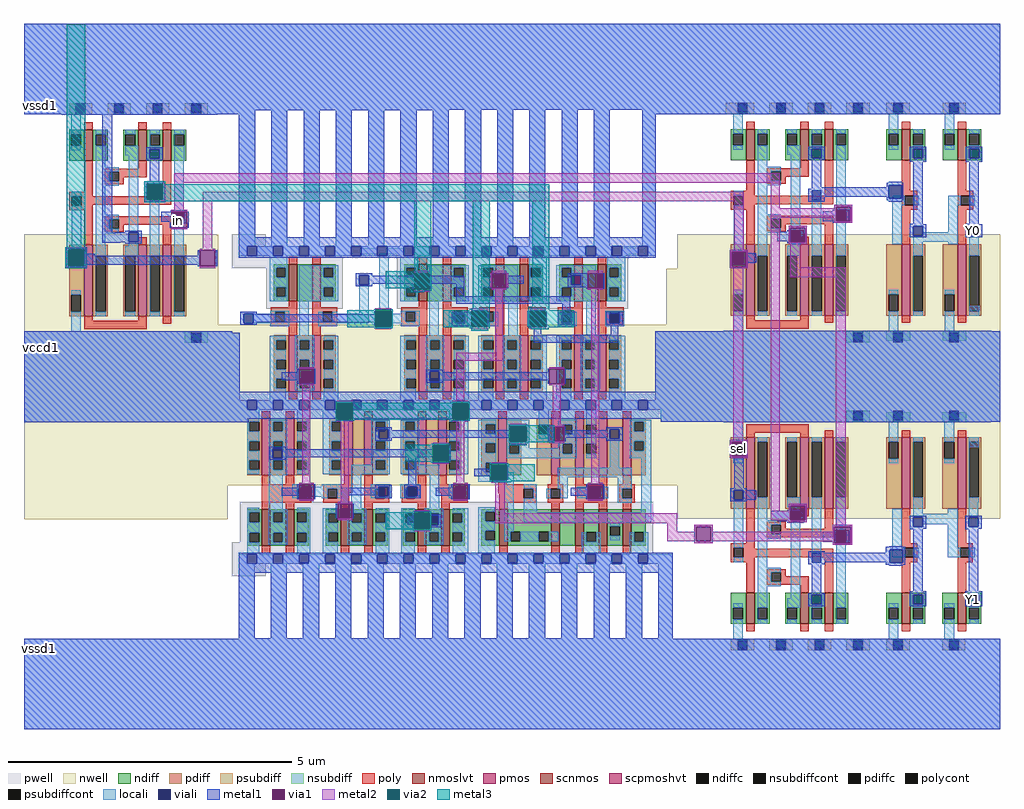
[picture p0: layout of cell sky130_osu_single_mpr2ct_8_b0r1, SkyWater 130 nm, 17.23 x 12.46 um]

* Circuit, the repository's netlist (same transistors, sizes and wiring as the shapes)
* NGSPICE file created from sky130_osu_single_mpr2ct_8_b0r1.ext - technology: sky130A

.subckt sky130_osu_sc_12T_hs__mux2_1 S0 Y A0 A1 vccd1 vssd1 
X0 Y S0 A0 vccd1 sky130_fd_pr__pfet_01v8 ad=0.1764 pd=1.54 as=0.3402 ps=3.06 w=1.26 l=0.15
X1 Y a_110_114# A0 vssd1  sky130_fd_pr__nfet_01v8_lvt ad=0.077 pd=0.83 as=0.1485 ps=1.64 w=0.55 l=0.15
X2 A1 a_110_114# Y vccd1 sky130_fd_pr__pfet_01v8 ad=0.3339 pd=3.05 as=0.1764 ps=1.54 w=1.26 l=0.15
X3 A1 S0 Y vssd1  sky130_fd_pr__nfet_01v8_lvt ad=0.14575 pd=1.63 as=0.077 ps=0.83 w=0.55 l=0.15
X4 a_110_114# S0 vccd1 vccd1 sky130_fd_pr__pfet_01v8 ad=0.3339 pd=3.05 as=0.3402 ps=3.06 w=1.26 l=0.15
X5 a_110_114# S0 vssd1  vssd1  sky130_fd_pr__nfet_01v8_lvt ad=0.14575 pd=1.63 as=0.1485 ps=1.64 w=0.55 l=0.15
.ends

.subckt sky130_osu_sc_12T_hs__inv_1 Y A vccd1 vssd1
X0 Y A vccd1 vccd1 sky130_fd_pr__pfet_01v8 ad=0.3339 pd=3.05 as=0.3402 ps=3.06 w=1.26 l=0.15
X1 Y A vssd1 vssd1 sky130_fd_pr__nfet_01v8_lvt ad=0.14575 pd=1.63 as=0.1485 ps=1.64 w=0.55 l=0.15
.ends

.subckt scs130hd_mpr2ct_8 A1 A0 B0 B1 R0 R1 R2 R3 VNB vgnd VPB vpwr
X0 vpwr B1 a_1131_911# VPB sky130_fd_pr__pfet_01v8_hvt ad=0.26 pd=2.52 as=0.135 ps=1.27 w=1 l=0.15
X1 vgnd a_1131_911# a_1133_47# VNB sky130_fd_pr__nfet_01v8 ad=0.08775 pd=0.92 as=0.08775 ps=0.92 w=0.65 l=0.15
X2 vpwr A1 a_665_591# VPB sky130_fd_pr__pfet_01v8_hvt ad=0.26 pd=2.52 as=0.135 ps=1.27 w=1 l=0.15
X3 vgnd a_665_591# a_915_232# VNB sky130_fd_pr__nfet_01v8 ad=0.169 pd=1.82 as=0.08775 ps=0.92 w=0.65 l=0.15
X4 a_1131_911# A0 vpwr VPB sky130_fd_pr__pfet_01v8_hvt ad=0.135 pd=1.27 as=0.26 ps=2.52 w=1 l=0.15
X5 R3 a_443_21# a_401_297# VPB sky130_fd_pr__pfet_01v8_hvt ad=0.26 pd=2.52 as=0.105 ps=1.21 w=1 l=0.15
X6 a_945_297# a_665_591# vpwr VPB sky130_fd_pr__pfet_01v8_hvt ad=0.135 pd=1.27 as=0.26 ps=2.52 w=1 l=0.15
X7 a_665_591# B0 vpwr VPB sky130_fd_pr__pfet_01v8_hvt ad=0.135 pd=1.27 as=0.26 ps=2.52 w=1 l=0.15
X8 vpwr a_443_21# a_661_297# VPB sky130_fd_pr__pfet_01v8_hvt ad=0.26 pd=2.52 as=0.105 ps=1.21 w=1 l=0.15
X9 R0 a_81_21# vpwr VPB sky130_fd_pr__pfet_01v8_hvt ad=0.135 pd=1.27 as=0.26 ps=2.52 w=1 l=0.15
X10 a_401_297# a_81_21# vpwr VPB sky130_fd_pr__pfet_01v8_hvt ad=0.105 pd=1.21 as=0.26 ps=2.52 w=1 l=0.15
X11 R1 a_915_232# vgnd VNB sky130_fd_pr__nfet_01v8 ad=0.25025 pd=1.42 as=0.208 ps=1.94 w=0.65 l=0.15
X12 vgnd B1 a_937_911# VNB sky130_fd_pr__nfet_01v8 ad=0.169 pd=1.82 as=0.08775 ps=0.92 w=0.65 l=0.15
X13 vgnd B1 a_1213_911# VNB sky130_fd_pr__nfet_01v8 ad=0.169 pd=1.82 as=0.08775 ps=0.92 w=0.65 l=0.15
X14 a_443_21# A1 vpwr VPB sky130_fd_pr__pfet_01v8_hvt ad=0.135 pd=1.27 as=0.26 ps=2.52 w=1 l=0.15
X15 vgnd a_443_21# R3 VNB sky130_fd_pr__nfet_01v8 ad=0.169 pd=1.82 as=0.08775 ps=0.92 w=0.65 l=0.15
X16 a_661_297# R0 R2 VPB sky130_fd_pr__pfet_01v8_hvt ad=0.105 pd=1.21 as=0.26 ps=2.52 w=1 l=0.15
X17 vgnd a_81_21# R0 VNB sky130_fd_pr__nfet_01v8 ad=0.169 pd=1.82 as=0.08775 ps=0.92 w=0.65 l=0.15
X18 a_665_591# A1 a_665_911# VNB sky130_fd_pr__nfet_01v8 ad=0.169 pd=1.82 as=0.08775 ps=0.92 w=0.65 l=0.15
X19 R0 a_81_21# vgnd VNB sky130_fd_pr__nfet_01v8 ad=0.08775 pd=0.92 as=0.169 ps=1.82 w=0.65 l=0.15
X20 a_1213_911# A0 a_1131_911# VNB sky130_fd_pr__nfet_01v8 ad=0.08775 pd=0.92 as=0.169 ps=1.82 w=0.65 l=0.15
X21 a_665_911# B0 vgnd VNB sky130_fd_pr__nfet_01v8 ad=0.08775 pd=0.92 as=0.169 ps=1.82 w=0.65 l=0.15
X22 vpwr A0 a_81_21# VPB sky130_fd_pr__pfet_01v8_hvt ad=0.26 pd=2.52 as=0.135 ps=1.27 w=1 l=0.15
X23 a_915_232# a_665_591# a_1301_297# VPB sky130_fd_pr__pfet_01v8_hvt ad=0.26 pd=2.52 as=0.135 ps=1.27 w=1 l=0.15
X24 R3 a_81_21# vgnd VNB sky130_fd_pr__nfet_01v8 ad=0.08775 pd=0.92 as=0.169 ps=1.82 w=0.65 l=0.15
X25 a_81_21# B0 vpwr VPB sky130_fd_pr__pfet_01v8_hvt ad=0.135 pd=1.27 as=0.26 ps=2.52 w=1 l=0.15
X26 a_1301_297# a_1131_911# vpwr VPB sky130_fd_pr__pfet_01v8_hvt ad=0.135 pd=1.27 as=0.135 ps=1.27 w=1 l=0.15
X27 a_937_911# A1 a_443_21# VNB sky130_fd_pr__nfet_01v8 ad=0.08775 pd=0.92 as=0.169 ps=1.82 w=0.65 l=0.15
X28 a_945_297# a_915_232# R1 VPB sky130_fd_pr__pfet_01v8_hvt ad=0.26 pd=2.52 as=0.3 ps=2.6 w=1 l=0.15
X29 R2 R0 vgnd VNB sky130_fd_pr__nfet_01v8 ad=0.08775 pd=0.92 as=0.169 ps=1.82 w=0.65 l=0.15
X30 a_1133_47# a_665_591# R1 VNB sky130_fd_pr__nfet_01v8 ad=0.08775 pd=0.92 as=0.25025 ps=1.42 w=0.65 l=0.15
X31 vpwr a_1131_911# a_945_297# VPB sky130_fd_pr__pfet_01v8_hvt ad=0.135 pd=1.27 as=0.135 ps=1.27 w=1 l=0.15
X32 a_915_232# a_1131_911# vgnd VNB sky130_fd_pr__nfet_01v8 ad=0.08775 pd=0.92 as=0.08775 ps=0.92 w=0.65 l=0.15
X33 vpwr a_81_21# R0 VPB sky130_fd_pr__pfet_01v8_hvt ad=0.26 pd=2.52 as=0.135 ps=1.27 w=1 l=0.15
X34 a_81_21# A0 a_205_911# VNB sky130_fd_pr__nfet_01v8 ad=0.169 pd=1.82 as=0.08775 ps=0.92 w=0.65 l=0.15
X35 a_205_911# B0 vgnd VNB sky130_fd_pr__nfet_01v8 ad=0.08775 pd=0.92 as=0.169 ps=1.82 w=0.65 l=0.15
X36 vpwr B1 a_443_21# VPB sky130_fd_pr__pfet_01v8_hvt ad=0.26 pd=2.52 as=0.135 ps=1.27 w=1 l=0.15
X37 vgnd a_443_21# R2 VNB sky130_fd_pr__nfet_01v8 ad=0.169 pd=1.82 as=0.08775 ps=0.92 w=0.65 l=0.15
.ends

.subckt sky130_osu_single_mpr2ct_8_b0r1 vssd1 vccd1 sel Y0 Y1 in
Xsky130_osu_sc_12T_hs__mux2_1_0 sel sky130_osu_sc_12T_hs__inv_1_1/A in scs130hd_mpr2ct_8_1/R1
+ vccd1 vssd1 sky130_osu_sc_12T_hs__mux2_1
Xsky130_osu_sc_12T_hs__inv_1_0 Y1 sky130_osu_sc_12T_hs__inv_1_1/Y vccd1 vssd1 sky130_osu_sc_12T_hs__inv_1
Xsky130_osu_sc_12T_hs__mux2_1_1 sel scs130hd_mpr2ct_8_1/B1 vssd1 in vccd1 vssd1 sky130_osu_sc_12T_hs__mux2_1
Xsky130_osu_sc_12T_hs__inv_1_1 sky130_osu_sc_12T_hs__inv_1_1/Y sky130_osu_sc_12T_hs__inv_1_1/A
+ vccd1 vssd1 sky130_osu_sc_12T_hs__inv_1
Xsky130_osu_sc_12T_hs__mux2_1_2 sel sky130_osu_sc_12T_hs__inv_1_4/A scs130hd_mpr2ct_8_1/R1
+ in vccd1 vssd1 sky130_osu_sc_12T_hs__mux2_1
Xsky130_osu_sc_12T_hs__inv_1_3 Y0 sky130_osu_sc_12T_hs__inv_1_4/Y vccd1 vssd1 sky130_osu_sc_12T_hs__inv_1
Xsky130_osu_sc_12T_hs__inv_1_4 sky130_osu_sc_12T_hs__inv_1_4/Y sky130_osu_sc_12T_hs__inv_1_4/A
+ vccd1 vssd1 sky130_osu_sc_12T_hs__inv_1
Xscs130hd_mpr2ct_8_1 scs130hd_mpr2ct_8_1/B1 scs130hd_mpr2ct_8_1/B1 vssd1 scs130hd_mpr2ct_8_1/B1
+ scs130hd_mpr2ct_8_1/R0 scs130hd_mpr2ct_8_1/R1 scs130hd_mpr2ct_8_1/R2 scs130hd_mpr2ct_8_1/R3
+ vssd1 vssd1 vccd1 vccd1 scs130hd_mpr2ct_8
.ends

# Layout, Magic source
magic
tech sky130A
magscale 1 2
<< nwell >>
rect -2159 1147 -1480 1489
rect 148 1386 306 1489
rect 1014 1427 1015 1465
rect 348 1386 380 1422
rect 148 1367 311 1386
rect -1476 1147 -1431 1170
rect 109 1147 311 1367
rect 1242 1147 1287 1489
rect -2159 1146 -1431 1147
rect -2159 1139 -1480 1146
rect -1476 1139 -1431 1146
rect -2159 873 -1397 1139
rect -2159 826 -1365 873
rect 70 869 1287 1147
rect 72 838 1287 869
rect 89 827 1287 838
rect -2159 824 -1423 826
rect -2159 603 -1325 824
rect 89 796 311 827
rect -273 763 311 796
rect 89 603 311 763
rect -2159 483 -1440 603
rect 148 485 311 603
rect 1093 513 1123 548
rect 1242 485 1287 827
<< ndiff >>
rect 1177 182 1212 216
<< psubdiff >>
rect 318 1947 342 1954
rect 318 1917 348 1947
rect 318 1914 349 1917
rect 474 1915 549 1947
rect 473 1914 555 1915
<< locali >>
rect -2158 1928 1287 2233
rect -2158 1927 -659 1928
rect -2158 1913 -1343 1927
rect -1400 1446 -1343 1913
rect -1286 1446 -1229 1927
rect -1172 1446 -1115 1927
rect -1058 1446 -1001 1927
rect -944 1446 -887 1927
rect -830 1446 -773 1927
rect -716 1446 -659 1927
rect -602 1446 -545 1928
rect -488 1446 -432 1928
rect -375 1446 -318 1928
rect -261 1446 -204 1928
rect -147 1446 -90 1928
rect 24 1913 1287 1928
rect 24 1446 72 1913
rect 1012 1462 1119 1497
rect -905 1206 -871 1421
rect 346 1386 382 1434
rect 1014 1427 1015 1462
rect 1179 1202 1213 1236
rect -2158 1141 -1423 1147
rect -2158 873 -1397 1141
rect -2158 826 -1365 873
rect 70 869 1287 1147
rect 89 827 1287 869
rect 1178 738 1212 772
rect 1013 466 1117 502
rect -1401 327 -1392 359
rect 70 331 131 359
rect -1226 329 131 331
rect -1401 62 -1345 327
rect -1288 62 -1231 327
rect -1174 62 -1117 329
rect -1060 62 -1003 329
rect -946 62 -889 329
rect -832 62 -775 329
rect -718 62 -661 329
rect -604 62 -547 329
rect -490 62 -433 329
rect -376 62 -319 329
rect -262 62 -205 329
rect -148 62 -91 329
rect -34 62 23 329
rect 46 325 131 329
rect 80 62 131 325
rect -1401 61 131 62
rect -2158 -259 1287 61
<< viali >>
rect 894 1617 940 1663
rect 1178 1484 1212 1518
rect 897 330 943 376
rect 1178 182 1212 216
<< metal1 >>
rect -2158 1928 1287 2233
rect -2158 1927 -659 1928
rect -2158 1913 -1343 1927
rect -1882 1495 -1848 1913
rect -1734 1668 -1660 1677
rect -1734 1612 -1725 1668
rect -1669 1612 -1660 1668
rect -1734 1603 -1660 1612
rect -1645 1513 -1639 1569
rect -1583 1513 -1577 1569
rect -1882 1494 -1801 1495
rect -1882 1463 -1802 1494
rect -1882 1461 -1800 1463
rect -1882 1460 -1819 1461
rect -1400 1446 -1343 1913
rect -1286 1446 -1229 1927
rect -1172 1446 -1115 1927
rect -1058 1446 -1001 1927
rect -944 1446 -887 1927
rect -830 1446 -773 1927
rect -716 1446 -659 1927
rect -602 1446 -545 1928
rect -488 1446 -432 1928
rect -375 1446 -318 1928
rect -261 1446 -204 1928
rect -147 1446 -90 1928
rect 24 1913 1287 1928
rect 24 1446 72 1913
rect 894 1671 940 1675
rect 888 1663 946 1671
rect 888 1656 894 1663
rect 656 1649 894 1656
rect 668 1643 894 1649
rect 622 1622 894 1643
rect 622 1609 668 1622
rect 888 1617 894 1622
rect 940 1617 946 1663
rect 888 1609 946 1617
rect 894 1604 940 1609
rect 701 1587 766 1594
rect 701 1535 708 1587
rect 760 1535 766 1587
rect 701 1529 766 1535
rect 541 1513 605 1519
rect 541 1461 547 1513
rect 599 1461 605 1513
rect 541 1454 605 1461
rect -2009 1434 -1941 1440
rect -2009 1378 -2003 1434
rect -1947 1421 -1941 1434
rect -1947 1414 -1938 1421
rect -1545 1414 -1539 1432
rect -1947 1387 -1539 1414
rect -1947 1378 -1941 1387
rect -1938 1381 -1539 1387
rect -2009 1372 -1941 1378
rect -1545 1376 -1539 1381
rect -1483 1376 -1477 1432
rect 332 1427 397 1434
rect 332 1375 339 1427
rect 391 1375 397 1427
rect 332 1369 397 1375
rect -2158 1146 -1423 1147
rect -2158 1128 -1646 1146
rect -1585 1141 -1423 1146
rect -1585 1128 -1397 1141
rect -2158 873 -1397 1128
rect -2158 826 -1365 873
rect 70 869 1287 1147
rect 72 838 1287 869
rect 89 827 1287 838
rect 332 757 397 764
rect 332 705 339 757
rect 391 705 397 757
rect 332 699 397 705
rect 348 586 382 699
rect 541 531 605 537
rect 541 513 547 531
rect 478 479 547 513
rect 599 479 605 531
rect 541 473 605 479
rect 207 457 272 464
rect 207 405 214 457
rect 266 405 272 457
rect 207 399 272 405
rect 696 457 766 463
rect 696 399 702 457
rect 760 399 766 457
rect 696 393 766 399
rect 896 386 943 388
rect 884 376 952 386
rect 884 365 897 376
rect -1401 327 -1391 365
rect 72 359 131 365
rect 70 331 131 359
rect 622 364 656 365
rect 668 364 897 365
rect 622 331 897 364
rect -1226 329 131 331
rect -1401 62 -1345 327
rect -1288 62 -1231 327
rect -1174 62 -1117 329
rect -1060 62 -1003 329
rect -946 62 -889 329
rect -832 62 -775 329
rect -718 62 -661 329
rect -604 62 -547 329
rect -490 62 -433 329
rect -376 62 -319 329
rect -262 62 -205 329
rect -148 62 -91 329
rect -34 62 23 329
rect 46 325 131 329
rect 71 294 131 325
rect 884 330 897 331
rect 943 330 952 376
rect 884 323 952 330
rect 896 318 943 323
rect 80 62 131 294
rect -1401 61 131 62
rect -2158 -259 1287 61
<< via1 >>
rect -1725 1612 -1669 1668
rect -1639 1513 -1583 1569
rect 708 1535 760 1587
rect 547 1461 599 1513
rect -2003 1378 -1947 1434
rect -1539 1376 -1483 1432
rect 339 1375 391 1427
rect 339 705 391 757
rect 547 479 599 531
rect 214 405 266 457
rect 702 399 760 457
<< metal2 >>
rect -1734 1668 -1660 1677
rect -1734 1612 -1725 1668
rect -1669 1612 -1660 1668
rect -1734 1603 -1660 1612
rect -1629 1671 510 1705
rect -1629 1575 -1595 1671
rect -1528 1605 382 1639
rect -1639 1569 -1583 1575
rect -1639 1507 -1583 1513
rect -2013 1434 -1938 1443
rect -1528 1438 -1494 1605
rect -2013 1378 -2003 1434
rect -1947 1378 -1938 1434
rect -2013 1369 -1938 1378
rect -1539 1432 -1483 1438
rect 348 1434 382 1605
rect 478 1581 510 1671
rect 701 1587 766 1594
rect 701 1581 708 1587
rect 478 1547 708 1581
rect -1539 1370 -1483 1376
rect 332 1427 397 1434
rect 332 1375 339 1427
rect 391 1375 397 1427
rect 332 1369 397 1375
rect 346 764 380 1369
rect 332 757 397 764
rect 332 705 339 757
rect 391 705 397 757
rect 332 699 397 705
rect -496 504 -461 636
rect 478 513 510 1547
rect 701 1535 708 1547
rect 760 1535 766 1587
rect 701 1529 766 1535
rect 541 1513 605 1519
rect 541 1461 547 1513
rect 599 1461 605 1513
rect 541 1454 605 1461
rect 547 1407 581 1454
rect 547 1372 582 1407
rect 547 1337 742 1372
rect 541 531 605 537
rect 541 513 547 531
rect -496 469 148 504
rect 478 479 547 513
rect 599 479 605 531
rect 541 473 605 479
rect 113 439 148 469
rect 207 457 272 464
rect 707 463 742 1337
rect 207 439 214 457
rect 113 405 214 439
rect 266 439 272 457
rect 696 457 766 463
rect 696 439 702 457
rect 266 405 702 439
rect 207 399 272 405
rect 696 399 702 405
rect 760 399 766 457
rect 696 393 766 399
<< via2 >>
rect -1725 1612 -1669 1668
rect -2003 1378 -1947 1434
<< metal3 >>
rect -2008 1443 -1942 2230
rect -1734 1668 -1660 1677
rect -1734 1612 -1725 1668
rect -1669 1665 -1660 1668
rect -1669 1612 -304 1665
rect -1734 1605 -304 1612
rect -1734 1603 -1660 1605
rect -2013 1434 -1938 1443
rect -2013 1378 -2003 1434
rect -1947 1378 -1938 1434
rect -2013 1369 -1938 1378
rect -781 1298 -721 1605
rect -575 1227 -515 1605
rect -364 1234 -304 1605
rect -583 1157 -515 1227
rect -379 1161 -304 1234
use scs130hd_mpr2ct_8  scs130hd_mpr2ct_8_1
transform 1 0 -1400 0 1 342
box -43 -60 1510 1148
use sky130_osu_sc_12T_hs__inv_1  sky130_osu_sc_12T_hs__inv_1_0
transform 1 0 1057 0 1 0
box -10 0 199 902
use sky130_osu_sc_12T_hs__inv_1  sky130_osu_sc_12T_hs__inv_1_1
transform 1 0 860 0 1 0
box -10 0 199 902
use sky130_osu_sc_12T_hs__inv_1  sky130_osu_sc_12T_hs__inv_1_3
transform 1 0 1058 0 -1 1974
box -10 0 199 902
use sky130_osu_sc_12T_hs__inv_1  sky130_osu_sc_12T_hs__inv_1_4
transform 1 0 860 0 -1 1974
box -10 0 199 902
use sky130_osu_sc_12T_hs__mux2_1  sky130_osu_sc_12T_hs__mux2_1_0
transform 1 0 311 0 1 0
box -10 0 552 902
use sky130_osu_sc_12T_hs__mux2_1  sky130_osu_sc_12T_hs__mux2_1_1
transform 1 0 -2026 0 -1 1972
box -10 0 552 902
use sky130_osu_sc_12T_hs__mux2_1  sky130_osu_sc_12T_hs__mux2_1_2
transform 1 0 311 0 -1 1974
box -10 0 552 902
<< labels >>
rlabel metal2 364 733 364 733 1 sel
port 8 n
rlabel metal1 -2106 26 -2106 26 1 vssd1
port 5 n
rlabel metal1 -2097 1088 -2097 1088 1 vccd1
port 6 n
rlabel metal2 -1612 1537 -1612 1537 1 in
port 11 n
rlabel metal1 -2100 1944 -2100 1944 1 vssd1
port 5 n
rlabel viali 1178 182 1212 216 1 Y1
port 10 n
rlabel viali 1178 1484 1212 1518 1 Y0
port 9 n
<< end >>

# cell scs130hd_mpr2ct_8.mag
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
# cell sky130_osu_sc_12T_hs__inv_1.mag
magic
tech sky130A
magscale 1 2
<< nwell >>
rect -10 484 199 902
<< pmos >>
rect 80 520 110 772
<< nmoslvt >>
rect 80 114 110 224
<< ndiff >>
rect 26 170 80 224
rect 26 130 34 170
rect 68 130 80 170
rect 26 114 80 130
rect 110 170 163 224
rect 110 130 121 170
rect 155 130 163 170
rect 110 114 163 130
<< pdiff >>
rect 26 756 80 772
rect 26 696 34 756
rect 68 696 80 756
rect 26 520 80 696
rect 110 756 163 772
rect 110 560 121 756
rect 155 560 163 756
rect 110 520 163 560
<< ndiffc >>
rect 34 130 68 170
rect 121 130 155 170
<< pdiffc >>
rect 34 696 68 756
rect 121 560 155 756
<< psubdiff >>
rect 26 26 50 60
rect 84 26 108 60
rect 26 20 108 26
<< nsubdiff >>
rect 26 826 50 860
rect 84 826 110 860
<< psubdiffcont >>
rect 50 26 84 60
<< nsubdiffcont >>
rect 50 826 84 860
<< poly >>
rect 80 772 110 798
rect 80 398 110 520
rect 80 382 134 398
rect 80 348 90 382
rect 124 348 134 382
rect 80 332 134 348
rect 80 224 110 332
rect 80 88 110 114
<< polycont >>
rect 90 348 124 382
<< locali >>
rect 0 866 198 888
rect 0 826 50 866
rect 84 826 198 866
rect 34 756 68 826
rect 34 680 68 696
rect 120 756 155 772
rect 120 560 121 756
rect 120 543 155 560
rect 46 382 80 520
rect 120 490 154 543
rect 46 348 90 382
rect 124 348 140 382
rect 34 170 68 186
rect 34 60 68 130
rect 121 170 155 182
rect 121 114 155 130
rect 0 20 50 60
rect 84 20 198 60
rect 0 0 198 20
<< viali >>
rect 50 860 84 866
rect 50 832 84 860
rect 120 456 154 490
rect 121 182 155 216
rect 50 26 84 54
rect 50 20 84 26
<< metal1 >>
rect 0 866 198 888
rect 0 832 50 866
rect 84 832 198 866
rect 0 826 198 832
rect 108 490 166 496
rect 108 456 120 490
rect 154 456 166 490
rect 108 449 166 456
rect 108 448 154 449
rect 120 228 154 448
rect 108 216 167 228
rect 108 182 121 216
rect 155 182 167 216
rect 108 176 167 182
rect 0 54 198 60
rect 0 20 50 54
rect 84 20 198 54
rect 0 0 198 20
<< labels >>
rlabel metal1 150 344 150 344 1 Y
port 1 n
rlabel viali 68 48 68 48 1 vssd1
port 4 n
rlabel viali 68 840 68 840 1 vccd1
port 3 n
rlabel locali 64 370 64 370 1 A
port 2 n
<< end >>

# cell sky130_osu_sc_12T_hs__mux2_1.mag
magic
tech sky130A
magscale 1 2
<< nwell >>
rect -10 484 552 902
<< pmos >>
rect 80 520 110 772
rect 271 520 301 772
rect 357 520 387 772
<< nmoslvt >>
rect 80 114 110 224
rect 271 114 301 224
rect 357 114 387 224
<< ndiff >>
rect 26 170 80 224
rect 26 130 34 170
rect 68 130 80 170
rect 26 114 80 130
rect 110 170 163 224
rect 110 130 121 170
rect 155 130 163 170
rect 110 114 163 130
rect 217 170 271 224
rect 217 130 225 170
rect 259 130 271 170
rect 217 114 271 130
rect 301 170 357 224
rect 301 130 312 170
rect 346 130 357 170
rect 301 114 357 130
rect 387 170 440 224
rect 387 130 398 170
rect 432 130 440 170
rect 387 114 440 130
<< pdiff >>
rect 26 756 80 772
rect 26 696 34 756
rect 68 696 80 756
rect 26 520 80 696
rect 110 756 163 772
rect 110 560 121 756
rect 155 560 163 756
rect 110 520 163 560
rect 217 756 271 772
rect 217 560 225 756
rect 259 560 271 756
rect 217 520 271 560
rect 301 756 357 772
rect 301 560 312 756
rect 346 560 357 756
rect 301 520 357 560
rect 387 756 440 772
rect 387 560 398 756
rect 432 560 440 756
rect 387 520 440 560
<< ndiffc >>
rect 34 130 68 170
rect 121 130 155 170
rect 225 130 259 170
rect 312 130 346 170
rect 398 130 432 170
<< pdiffc >>
rect 34 696 68 756
rect 121 560 155 756
rect 225 560 259 756
rect 312 560 346 756
rect 398 560 432 756
<< psubdiff >>
rect 26 26 50 60
rect 84 26 108 60
rect 26 20 108 26
rect 162 26 186 60
rect 220 26 244 60
rect 162 20 244 26
rect 298 26 322 60
rect 356 26 380 60
rect 298 20 380 26
rect 434 26 458 60
rect 492 26 516 60
rect 434 20 516 26
<< nsubdiff >>
rect 434 860 516 866
rect 434 826 458 860
rect 492 826 516 860
<< psubdiffcont >>
rect 50 26 84 60
rect 186 26 220 60
rect 322 26 356 60
rect 458 26 492 60
<< nsubdiffcont >>
rect 458 826 492 860
<< poly >>
rect 80 788 301 818
rect 80 772 110 788
rect 271 772 301 788
rect 357 772 387 798
rect 80 398 110 520
rect 271 494 301 520
rect 152 464 219 474
rect 152 430 168 464
rect 202 450 219 464
rect 357 450 387 520
rect 202 430 387 450
rect 152 420 387 430
rect 26 382 110 398
rect 26 348 36 382
rect 70 378 110 382
rect 70 348 387 378
rect 26 332 110 348
rect 80 224 110 332
rect 152 296 219 306
rect 152 262 168 296
rect 202 282 219 296
rect 202 262 301 282
rect 152 252 301 262
rect 271 224 301 252
rect 357 224 387 348
rect 80 88 110 114
rect 271 88 301 114
rect 357 88 387 114
<< polycont >>
rect 168 430 202 464
rect 36 348 70 382
rect 168 262 202 296
<< locali >>
rect 0 866 550 888
rect 0 826 458 866
rect 492 826 550 866
rect 34 756 68 826
rect 34 680 68 696
rect 120 756 155 772
rect 36 382 70 552
rect 36 332 70 348
rect 120 560 121 756
rect 120 520 155 560
rect 225 756 259 772
rect 311 756 346 772
rect 311 560 312 756
rect 225 526 271 560
rect 120 480 154 520
rect 237 510 271 526
rect 120 464 202 480
rect 120 430 168 464
rect 120 414 202 430
rect 120 312 154 414
rect 120 296 202 312
rect 120 262 168 296
rect 120 246 202 262
rect 120 212 154 246
rect 34 170 68 186
rect 34 60 68 130
rect 120 170 155 212
rect 237 204 271 476
rect 311 520 346 560
rect 397 756 432 772
rect 397 560 398 756
rect 397 544 432 560
rect 311 364 345 520
rect 397 438 431 544
rect 397 224 431 404
rect 120 130 121 170
rect 120 114 155 130
rect 225 170 271 204
rect 345 182 346 216
rect 311 170 346 182
rect 225 114 259 130
rect 311 130 312 170
rect 311 114 346 130
rect 397 170 432 224
rect 397 130 398 170
rect 397 114 432 130
rect 0 20 50 60
rect 84 20 186 60
rect 220 20 322 60
rect 356 20 458 60
rect 492 20 550 60
rect 0 0 550 20
<< viali >>
rect 458 860 492 866
rect 458 832 492 860
rect 36 552 70 586
rect 237 476 271 510
rect 311 330 345 364
rect 397 404 431 438
rect 311 182 345 216
rect 50 26 84 54
rect 50 20 84 26
rect 186 26 220 54
rect 186 20 220 26
rect 322 26 356 54
rect 322 20 356 26
rect 458 26 492 54
rect 458 20 492 26
<< metal1 >>
rect 0 866 550 888
rect 0 832 458 866
rect 492 832 550 866
rect 0 826 550 832
rect 24 586 82 592
rect 24 552 36 586
rect 70 552 116 586
rect 24 546 82 552
rect 225 510 283 516
rect 190 476 237 510
rect 271 476 283 510
rect 225 470 283 476
rect 385 438 443 444
rect 351 404 397 438
rect 431 404 443 438
rect 385 398 443 404
rect 299 364 357 370
rect 299 330 311 364
rect 345 330 357 364
rect 299 324 357 330
rect 311 222 345 324
rect 299 216 357 222
rect 299 182 311 216
rect 345 182 357 216
rect 299 176 357 182
rect 0 54 550 60
rect 0 20 50 54
rect 84 20 186 54
rect 220 20 322 54
rect 356 20 458 54
rect 492 20 550 54
rect 0 0 550 20
<< labels >>
rlabel viali 54 570 54 570 1 S0
port 1 n
rlabel viali 68 48 68 48 1 vssd1
port 6 n
rlabel viali 476 840 476 840 1 vccd1
port 5 n
rlabel viali 329 348 329 348 1 Y
port 2 n
rlabel viali 415 422 415 422 1 A1
port 4 n
rlabel viali 253 494 253 494 1 A0
port 3 n
<< end >>
